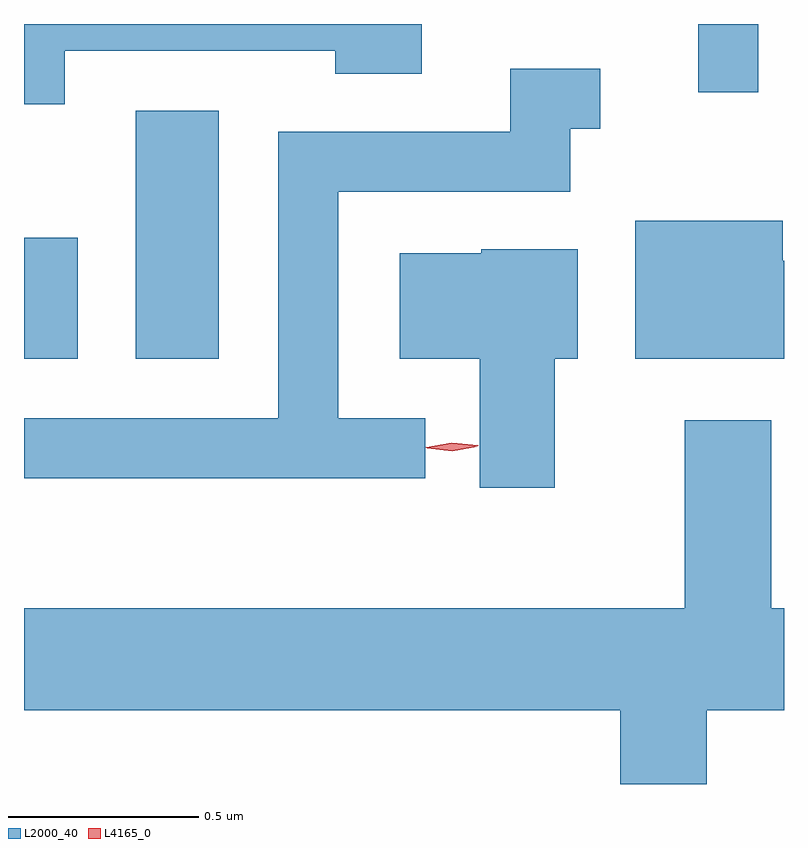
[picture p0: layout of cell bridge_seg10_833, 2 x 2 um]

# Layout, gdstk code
import gdstk
lib = gdstk.Library(unit=1e-6, precision=1e-09)
def R(c, l, rs):  # rectangles x0, y0, x1, y1
    for r in rs: c.add(gdstk.rectangle(r[:2], r[2:], *l))
def P(c, l, *ps):  # polygons
    for p in ps: c.add(gdstk.Polygon(p, *l))
L2000_40 = (2000, 40)
L4165_0 = (4165, 0)

bridge_seg10_833 = lib.new_cell('bridge_seg10_833')
R(bridge_seg10_833, L2000_40, [(444.012,2174.781,444.154,2175.099), (444.306,2174.781,444.524,2175.434), (445.786,2175.483,445.944,2175.662)])
P(bridge_seg10_833, L2000_40, [(444.119,2175.591),(444.831,2175.591),(444.831,2175.531),(445.059,2175.531),(445.059,2175.662),(444.012,2175.662),(444.012,2175.451),(444.119,2175.451)],
  [(445.068,2174.624),(444.839,2174.624),(444.839,2175.221),(445.449,2175.221),(445.449,2175.386),(445.528,2175.386),(445.528,2175.544),(445.291,2175.544),(445.291,2175.379),(444.681,2175.379),(444.681,2174.624),(444.012,2174.624),(444.012,2174.466),(445.068,2174.466)],
  [(446.012,2175.039),(446.009,2175.039),(446.009,2175.144),(445.621,2175.144),(445.621,2174.781),(446.012,2174.781)],
  [(445.409,2174.781),(445.469,2174.781),(445.469,2175.069),(445.215,2175.069),(445.215,2175.059),(445.001,2175.059),(445.001,2174.781),(445.211,2174.781),(445.211,2174.441),(445.409,2174.441)],
  [(445.809,2173.856),(446.012,2173.856),(446.012,2174.124),(445.979,2174.124),(445.979,2174.619),(445.751,2174.619),(445.751,2174.124),(444.012,2174.124),(444.012,2173.856),(445.581,2173.856),(445.581,2173.662),(445.809,2173.662)])
P(bridge_seg10_833, L4165_0, [(445.139,2174.54),(445.07,2174.547),(445.069,2174.548),(445.07,2174.548),(445.138,2174.56),(445.207,2174.553),(445.207,2174.552),(445.207,2174.552)],
  [(445.139,2174.538),(445.073,2174.545),(445.073,2174.545),(445.073,2174.546),(445.138,2174.557),(445.204,2174.55),(445.205,2174.55),(445.204,2174.55)])

lib.write_gds('bridge_seg10_833.gds')
